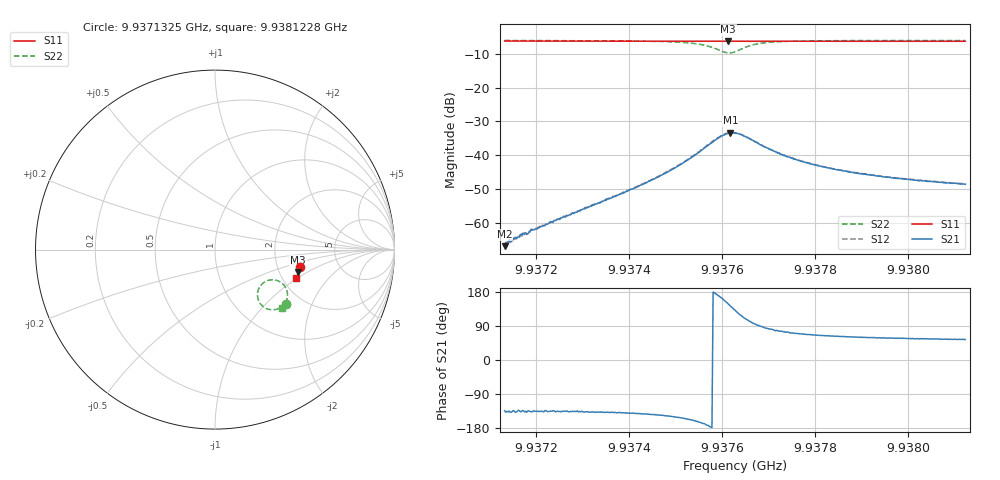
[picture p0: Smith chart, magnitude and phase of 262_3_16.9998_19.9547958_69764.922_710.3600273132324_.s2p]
#  HZ  S  RI  R  50.00
! Rohde & Schwarz Vector Network Analyzer
! Rohde-Schwarz,ZNB20-2Port,1311601062101988,3.16
! Created: UTC 3/20/2024, 11:03:50 PM
! freq[Hz]  re:S11  im:S11  re:S21  im:S21  re:S12  im:S12  re:S22  im:S22
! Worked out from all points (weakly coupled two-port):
!   401 points, 9.9371325 GHz to 9.9381228 GHz, reference 50 ohm
!   highest |S21| = -33.35 dB at 9.9376177 GHz (marker M1); lowest = -66.8 dB at 9.9371325 GHz (marker M2)
!   lowest |S11| = -6.4 dB at 9.9376128 GHz (marker M3), VSWR 2.84, Z = 126 - j41.6 ohm
!   |S11| at or under -10 dB: nowhere
!   |S22| runs from -9.8 to -6.1 dB; largest |S21 - S12| = 0.00098
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9.93713248e9  0.4745 -0.0962  -0.000318 -0.000331  -0.000345 -0.000332  0.3929 -0.3005
9.93714486e9  0.4743 -0.0969  -0.000394 -0.000356  -0.000394 -0.000396  0.3921 -0.3016
9.93714981e9  0.4742 -0.0972  -0.000395 -0.000403  -0.000406 -0.000374  0.3916 -0.3019
9.9371721e9  0.4737 -0.0987  -0.000489 -0.00052  -0.000515 -0.000491  0.39 -0.3034
9.937182e9  0.4737 -0.0994  -0.000485 -0.00049  -0.000531 -0.000502  0.3891 -0.3044
9.93719438e9  0.4734 -0.1004  -0.000559 -0.000575  -0.000579 -0.000582  0.3881 -0.3054
9.93729836e9  0.4716 -0.1074  -0.00112 -0.00112  -0.00117 -0.0011  0.3782 -0.3141
9.93738006e9  0.4697 -0.1129  -0.002 -0.00176  -0.00206 -0.00172  0.3665 -0.3221
9.93746424e9  0.4677 -0.1185  -0.004 -0.00277  -0.00414 -0.00274  0.3455 -0.3315
9.93751623e9  0.4663 -0.1222  -0.00694 -0.00348  -0.0071 -0.0034  0.3188 -0.3354
9.9375608e9  0.4647 -0.1252  -0.0124 -0.00265  -0.0127 -0.00228  0.2747 -0.3219
9.93759546e9  0.4631 -0.1266  -0.0181 0.00433  -0.0184 0.00494  0.2369 -0.26
9.93761279e9  0.4625 -0.1269  -0.018 0.0111  -0.0179 0.0119  0.2494 -0.2068
9.93761774e9  0.4625 -0.127  -0.017 0.0131  -0.0167 0.0139  0.26 -0.1935
9.93762764e9  0.4626 -0.1273  -0.0141 0.0159  -0.0137 0.0168  0.2883 -0.1745
9.93765488e9  0.463 -0.1287  -0.00476 0.0176  -0.00434 0.0179  0.3625 -0.1796
9.93768459e9  0.4631 -0.1309  0.000295 0.0141  0.000767 0.0142  0.3958 -0.2162
9.93773658e9  0.4622 -0.1348  0.00281 0.00926  0.00311 0.00932  0.4039 -0.2587
9.93779352e9  0.461 -0.1388  0.00297 0.00677  0.00314 0.00677  0.3989 -0.2823
9.93787522e9  0.459 -0.1443  0.00275 0.00496  0.00284 0.00496  0.3909 -0.3001
9.9379594e9  0.4569 -0.15  0.00252 0.00402  0.0026 0.004  0.3835 -0.3113
9.9381228e9  0.4527 -0.1603  0.0022 0.00303  0.00228 0.00305  0.3715 -0.3258
